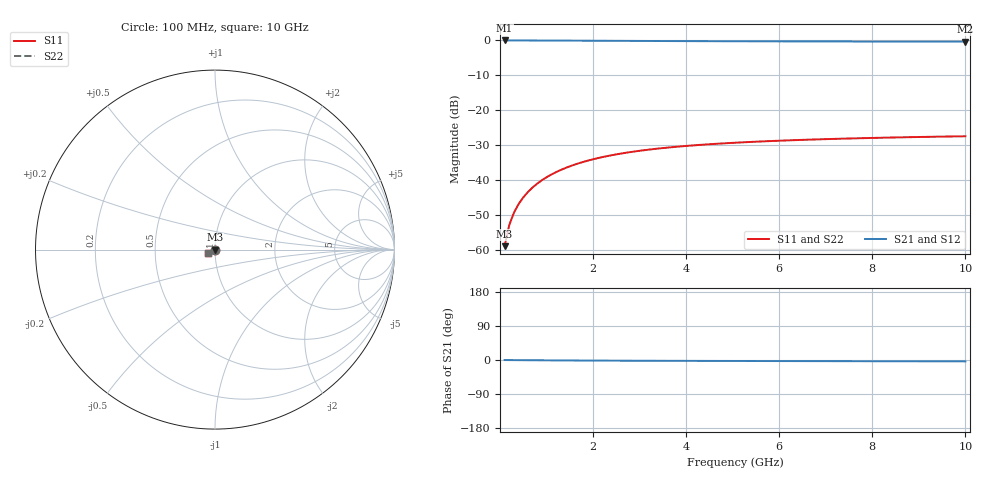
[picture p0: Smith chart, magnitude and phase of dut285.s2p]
! Touchstone file exported from HFSS 2024.1.0
!  File:  C:/UserFiles/LocalFiles/RDL_TSV_Batchsim/temp_TSV1_285_1778770522.aedt
!  Generated:  10:59:40 PM May 14, 2026
!  Design:  TSV1
!  Project:  temp_TSV1_285_1778770522
!  Setup:  Setup1
!  Solution:  Sweep
! Variables:
!  dtsv = 13.56um
!  hbump = 3um
!  htsv = 52.04um
!  lrdl = 252.1521522um
!  p = 40
!  p1 = 43.63um
!  t = 500um
!  trdl = 3um
!  wrdl = 24.89489489um
# GHz S MA R 50.000000
! Terminal data exported
! Port[1] = TSV22_T1
! Port[2] = TSV22_T2
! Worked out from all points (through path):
!   100 points, 100 MHz to 10 GHz, reference 50 ohm
!   highest |S21| = 0.00 dB at 100 MHz (marker M1); lowest = -0.3 dB at 10 GHz (marker M2)
!   lowest |S11| = -58.9 dB at 100 MHz (marker M3), VSWR 1.00, Z = 50 - j0.113 ohm
!   |S11| at or under -10 dB: start of sweep to end of sweep
!   |S22| runs from -58.9 to -27.5 dB; largest |S21 - S12| = 1.1e-14
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0.1  0.001129 -88.0  0.9999 -0.1  0.9999 -0.1  0.001129 -88.0
! Gamma 0 0 0 0
! Port Impedance 50 0 50 0
0.2  0.002267 -91.1  0.9998 -0.2  0.9998 -0.2  0.002267 -91.1
0.3  0.0034 -93.2  0.9996 -0.3  0.9996 -0.3  0.0034 -93.2
0.4  0.004525 -95.1  0.9994 -0.4  0.9994 -0.4  0.004525 -95.1
0.5  0.005638 -96.8  0.9992 -0.5  0.9992 -0.5  0.005638 -96.8
0.6  0.006738 -98.4  0.9988 -0.5  0.9988 -0.5  0.006738 -98.4
0.7  0.007822 -100.0  0.9984 -0.6  0.9984 -0.6  0.007822 -100.0
0.8  0.008888 -101.5  0.998 -0.7  0.998 -0.7  0.008888 -101.5
0.9  0.009934 -103.0  0.9975 -0.8  0.9975 -0.8  0.009934 -103.0
1.1  0.01196 -105.9  0.9965 -1.0  0.9965 -1.0  0.01196 -105.9
1.4  0.01482 -109.9  0.9947 -1.2  0.9947 -1.2  0.01482 -109.9
1.6  0.0166 -112.5  0.9934 -1.3  0.9934 -1.3  0.0166 -112.5
1.8  0.01828 -114.9  0.992 -1.4  0.992 -1.4  0.01828 -114.9
2.1  0.02059 -118.3  0.99 -1.6  0.99 -1.6  0.02059 -118.3
2.5  0.02333 -122.4  0.9873 -1.8  0.9873 -1.8  0.02333 -122.4
2.9  0.02571 -126.0  0.9847 -1.9  0.9847 -1.9  0.02571 -126.0
3.4  0.02826 -130.0  0.9817 -2.1  0.9817 -2.1  0.02826 -130.0
4.2  0.03154 -135.3  0.9775 -2.4  0.9775 -2.4  0.03154 -135.3
5.1  0.03439 -140.0  0.9735 -2.6  0.9735 -2.6  0.03439 -140.0
6.7  0.03803 -146.2  0.9682 -2.9  0.9682 -2.9  0.03803 -146.2
8.4  0.04066 -151.1  0.9642 -3.3  0.9642 -3.3  0.04066 -151.1
10  0.04241 -154.5  0.9614 -3.6  0.9614 -3.6  0.04241 -154.5
